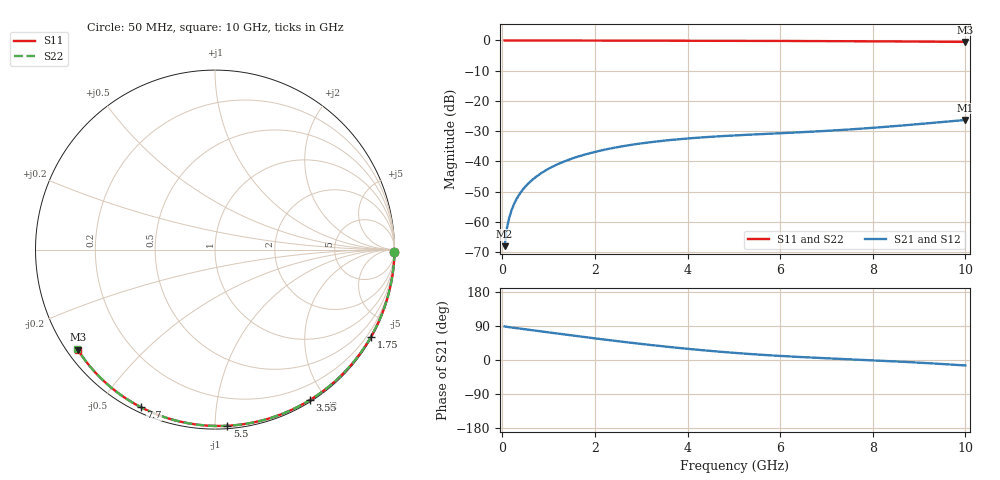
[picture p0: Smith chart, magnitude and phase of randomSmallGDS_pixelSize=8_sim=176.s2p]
! freq	dB(S11)	phase(S11)	dB(S12)	phase(S12)
!  dB(S21)	phase(S21)	dB(S22)	phase(S22)
!S-par simulation data
#  GHz  S  DB  R 50
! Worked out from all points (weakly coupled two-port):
!   200 points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, 50 MHz to 10 GHz, reference 50 ohm
!   highest |S21| = -26.29 dB at 10 GHz (marker M1); lowest = -68.0 dB at 50 MHz (marker M2)
!   lowest |S11| = -0.5 dB at 10 GHz (marker M3), VSWR 36.24, Z = 1.53 - j16.3 ohm
!   |S11| at or under -10 dB: nowhere
!   |S22| runs from -0.5 to 0.0 dB; largest |S21 - S12| = 0
!   S11 on the Smith chart (normalised r, x): 50 MHz: open; 1.75 GHz: 0.03, -3.84; 3.55 GHz: 0.02, -1.82; 5.5 GHz: 0.02, -1.07; 7.7 GHz: 0.02, -0.63; 10 GHz: 0.03, -0.33
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0.05  -0.00 -0.9  -68.04 88.7  -68.04 88.7  -0.00 -0.9
0.1  -0.00 -1.7  -62.07 87.5  -62.07 87.5  -0.00 -1.7
0.15  -0.00 -2.5  -58.60 86.6  -58.60 86.6  -0.00 -2.6
0.2  -0.00 -3.4  -56.14 85.7  -56.14 85.7  -0.00 -3.4
0.25  -0.00 -4.2  -54.23 84.9  -54.23 84.9  -0.00 -4.3
0.35  -0.00 -5.9  -51.36 83.4  -51.36 83.4  -0.00 -5.9
0.5  -0.01 -8.5  -48.31 81.0  -48.31 81.0  -0.01 -8.5
0.7  -0.01 -11.8  -45.43 77.8  -45.43 77.8  -0.01 -11.8
1  -0.02 -16.8  -42.42 73.0  -42.42 73.0  -0.02 -16.9
1.35  -0.03 -22.6  -39.95 67.3  -39.95 67.3  -0.03 -22.7
1.75  -0.04 -29.2  -37.88 61.0  -37.88 61.0  -0.04 -29.2
2.5  -0.05 -41.3  -35.25 49.5  -35.25 49.5  -0.05 -41.4
3.4  -0.07 -55.4  -33.30 37.0  -33.30 37.0  -0.07 -55.4
3.55  -0.08 -57.7  -33.05 35.0  -33.05 35.0  -0.08 -57.7
4.3  -0.10 -68.9  -32.08 26.1  -32.08 26.1  -0.10 -69.0
5.05  -0.12 -79.7  -31.38 18.5  -31.38 18.5  -0.12 -79.8
5.5  -0.14 -86.0  -31.04 14.5  -31.04 14.5  -0.14 -86.2
6.7  -0.20 -102.3  -30.16 6.3  -30.16 6.3  -0.20 -102.4
7.7  -0.26 -115.2  -29.23 0.8  -29.23 0.8  -0.26 -115.4
8.35  -0.31 -123.4  -28.48 -2.9  -28.48 -2.9  -0.31 -123.6
9.2  -0.39 -134.0  -27.39 -8.4  -27.39 -8.4  -0.39 -134.2
10  -0.48 -143.9  -26.29 -14.4  -26.29 -14.4  -0.48 -144.2
